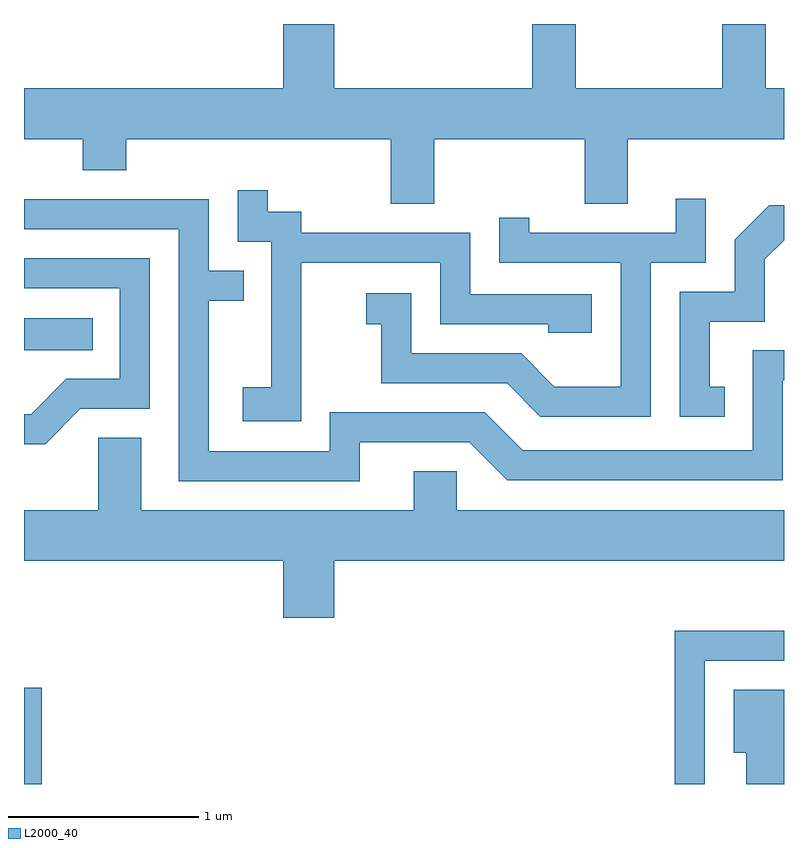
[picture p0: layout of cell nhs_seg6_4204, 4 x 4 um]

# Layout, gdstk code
import gdstk
lib = gdstk.Library(unit=1e-6, precision=1e-09)
def R(c, l, rs):  # rectangles x0, y0, x1, y1
    for r in rs: c.add(gdstk.rectangle(r[:2], r[2:], *l))
def P(c, l, *ps):  # polygons
    for p in ps: c.add(gdstk.Polygon(p, *l))
L2000_40 = (2000, 40)

nhs_seg6_4204 = lib.new_cell('nhs_seg6_4204')
R(nhs_seg6_4204, L2000_40, [(313.611,1582.162,313.704,1582.669), (313.611,1584.446,313.973,1584.614)])
P(nhs_seg6_4204, L2000_40, [(315.769,1585.556),(316.561,1585.556),(316.561,1585.216),(316.789,1585.216),(316.789,1585.556),(317.611,1585.556),(317.611,1585.824),(317.514,1585.824),(317.514,1586.162),(317.286,1586.162),(317.286,1585.824),(316.514,1585.824),(316.514,1586.162),(316.286,1586.162),(316.286,1585.824),(315.244,1585.824),(315.244,1586.162),(314.976,1586.162),(314.976,1585.824),(313.611,1585.824),(313.611,1585.556),(313.921,1585.556),(313.921,1585.391),(314.149,1585.391),(314.149,1585.556),(315.541,1585.556),(315.541,1585.216),(315.769,1585.216)],
  [(315.069,1584.906),(315.801,1584.906),(315.801,1584.581),(316.371,1584.581),(316.371,1584.536),(316.599,1584.536),(316.599,1584.739),(315.959,1584.739),(315.959,1585.064),(315.069,1585.064),(315.069,1585.174),(314.894,1585.174),(314.894,1585.288),(314.736,1585.288),(314.736,1585.016),(314.911,1585.016),(314.911,1584.249),(314.761,1584.249),(314.761,1584.071),(315.069,1584.071)],
  [(316.909,1584.906),(317.199,1584.906),(317.199,1585.243),(317.041,1585.243),(317.041,1585.064),(316.269,1585.064),(316.269,1585.143),(316.111,1585.143),(316.111,1584.906),(316.751,1584.906),(316.751,1584.254),(316.402,1584.254),(316.227,1584.429),(315.649,1584.429),(315.649,1584.744),(315.413,1584.744),(315.413,1584.581),(315.491,1584.581),(315.491,1584.271),(316.154,1584.271),(316.329,1584.096),(316.909,1584.096)],
  [(315.379,1583.961),(315.954,1583.961),(316.154,1583.761),(317.604,1583.761),(317.604,1584.286),(317.611,1584.286),(317.611,1584.444),(317.446,1584.444),(317.446,1583.919),(316.237,1583.919),(316.037,1584.119),(315.221,1584.119),(315.221,1583.914),(314.584,1583.914),(314.584,1584.706),(314.768,1584.706),(314.768,1584.864),(314.584,1584.864),(314.584,1585.239),(313.611,1585.239),(313.611,1585.081),(314.426,1585.081),(314.426,1583.756),(315.379,1583.756)],
  [(317.298,1584.254),(317.219,1584.254),(317.219,1584.596),(317.509,1584.596),(317.509,1584.924),(317.611,1585.025),(317.611,1585.209),(317.534,1585.209),(317.351,1585.027),(317.351,1584.754),(317.061,1584.754),(317.061,1584.096),(317.298,1584.096)],
  [(313.907,1584.136),(314.274,1584.136),(314.274,1584.929),(313.611,1584.929),(313.611,1584.771),(314.116,1584.771),(314.116,1584.294),(313.834,1584.294),(313.649,1584.109),(313.611,1584.109),(313.611,1583.951),(313.722,1583.951)],
  [(315.244,1583.336),(317.611,1583.336),(317.611,1583.604),(315.889,1583.604),(315.889,1583.809),(315.661,1583.809),(315.661,1583.604),(314.229,1583.604),(314.229,1583.984),(314.001,1583.984),(314.001,1583.604),(313.611,1583.604),(313.611,1583.336),(314.976,1583.336),(314.976,1583.036),(315.244,1583.036)],
  [(317.194,1582.811),(317.611,1582.811),(317.611,1582.969),(317.036,1582.969),(317.036,1582.162),(317.194,1582.162)],
  [(317.611,1582.659),(317.346,1582.659),(317.346,1582.326),(317.411,1582.326),(317.411,1582.162),(317.611,1582.162)])

lib.write_gds('nhs_seg6_4204.gds')
